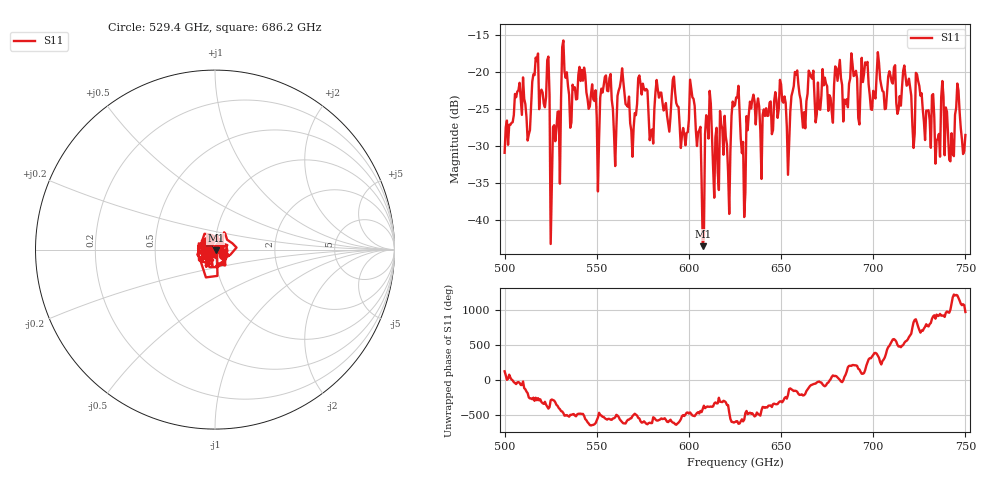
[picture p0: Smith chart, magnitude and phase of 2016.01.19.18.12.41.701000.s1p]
!Created with skrf (http://scikit-rf.org).
# GHz S RI R 50.0
!freq ReS11 ImS11
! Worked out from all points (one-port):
!   401 points, 500 GHz to 750 GHz, reference 50 ohm
!   lowest |S11| = -43.5 dB at 607.5 GHz (marker M1), VSWR 1.01, Z = 50.5 - j0.485 ohm
!   |S11| at or under -10 dB: start of sweep to end of sweep
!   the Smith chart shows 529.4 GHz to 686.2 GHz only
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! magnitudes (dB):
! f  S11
! 500 GHz  -30.9
! 506.9 GHz  -22.7
! 513.1 GHz  -28.4
! 516.9 GHz  -18.1
! 523.1 GHz  -18.4
! 526.2 GHz  -27.4
! 531.2 GHz  -16.6
! 541.9 GHz  -19.7
! 550 GHz  -26.3
! 556.2 GHz  -22.6
! 559.4 GHz  -28.4
! 562.5 GHz  -22.1
! 569.4 GHz  -31.5
! 573.8 GHz  -21.6
! 579.4 GHz  -28.0
! 593.8 GHz  -24.6
! 601.9 GHz  -23.4
! 607.5 GHz  -43.5
! 610.6 GHz  -29.0
! 621.2 GHz  -33.5
! 625 GHz  -24.5
! 629.4 GHz  -29.5
! 634.4 GHz  -23.8
! 653.8 GHz  -33.9
! 656.2 GHz  -22.6
! 687.5 GHz  -20.9
! 718.8 GHz  -21.7
! 750 GHz  -28.5
